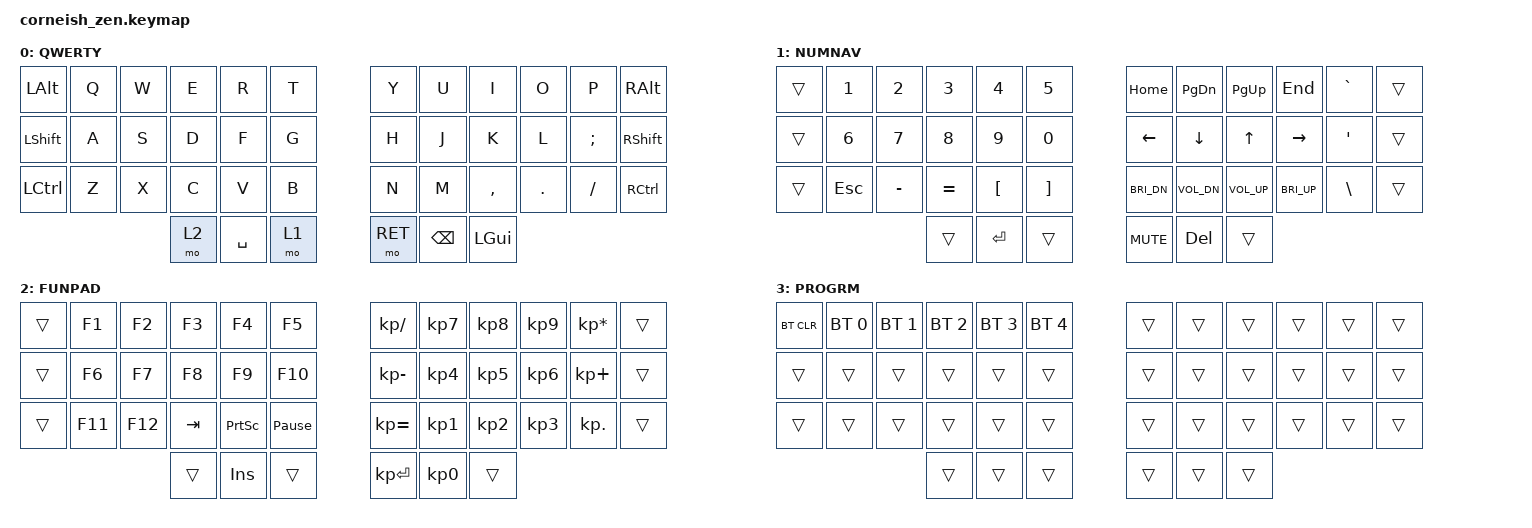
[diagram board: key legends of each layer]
#include <behaviors.dtsi>
#include <dt-bindings/zmk/keys.h>
#include <dt-bindings/zmk/bt.h>

/ {
  chosen {
    zmk,matrix_transform = &default_transform;
    //zmk,matrix_transform = &five_column_transform;
  };
};

/ {
  conditional_layers {
    compatible = "zmk,conditional-layers";
    tri_layer {
      if-layers = <1 2>;
      then-layer = <3>;
    };
  };
};

/ {
  keymap {
    compatible = "zmk,keymap";
    default_layer {
      label = "QWERTY";
// -------------------------------------------------------------------------------
// |  ALT |  Q  |  W  |  E  |  R  |  T  |   |  Y  |  U  |  I  |  O  |  P  | ALT  |
// | SHFT |  A  |  S  |  D  |  F  |  G  |   |  H  |  J  |  K  |  L  |  ;  | SHFT |
// | CTRL |  Z  |  X  |  C  |  V  |  B  |   |  N  |  M  |  ,  |  .  |  /  | CTRL |
//                    | FUN | SPC | NUM |   | RET | BSP | GUI |
      bindings = <
&kp LALT  &kp Q &kp W &kp E &kp R     &kp T   &kp Y   &kp U    &kp I     &kp O   &kp P    &kp RALT
&kp LSHFT &kp A &kp S &kp D &kp F     &kp G   &kp H   &kp J    &kp K     &kp L   &kp SEMI &kp RSHFT
&kp LCTRL &kp Z &kp X &kp C &kp V     &kp B   &kp N   &kp M    &kp COMMA &kp DOT &kp FSLH &kp RCTRL
                      &mo 2 &kp SPACE &mo 1   &mo RET &kp BSPC &kp LGUI
      >;
    };

    numsym_layer {
      label = "NUMNAV";
// -------------------------------------------------------------------------------
// |      |  1  |  2  |  3  |  4  |  5  |   | HOM | PDN | PUP | END |  `  |      |
// |      |  6  |  7  |  8  |  9  |  0  |   | LFT | DWN |  UP | RGT |  '  |      |
// |      | ESC |  -  |  =  |  [  |  ]  |   | BR- | VO- | VO+ | BR+ |  \  |      |
//                    |     | RET |     |   | MUT | DEL |     |
      bindings = <
&trans &kp N1  &kp N2    &kp N3    &kp N4   &kp N5     &kp HOME     &kp PG_DN    &kp PG_UP    &kp END      &kp GRAVE &trans
&trans &kp N6  &kp N7    &kp N8    &kp N9   &kp N0     &kp LEFT     &kp DOWN     &kp UP       &kp RIGHT    &kp SQT   &trans
&trans &kp ESC &kp MINUS &kp EQUAL &kp LBKT &kp RBKT   &kp C_BRI_DN &kp C_VOL_DN &kp C_VOL_UP &kp C_BRI_UP &kp BSLH  &trans
                         &trans    &kp RET  &trans     &kp C_MUTE   &kp DEL      &trans
      >;
    };

    functs_layer {
      label = "FUNPAD";
// -------------------------------------------------------------------------------
// |      | F1  | F2  | F3  | F4  | F5  |   | KP/ | KP7 | KP8 | KP9 | KP* |      |
// |      | F6  | F7  | F8  | F9  | F10 |   | KP- | KP4 | KP5 | KP6 | KP+ |      |
// |      | F11 | F12 | TAB | PS  | PAU |   | KP= | KP1 | KP2 | KP3 | KP. |      |
//                    |     | INS |     |   | ENT | KP0 |     |
      bindings = <
&trans &kp F1  &kp F2  &kp F3  &kp F4    &kp F5            &kp KP_DIVIDE &kp KP_N7 &kp KP_N8 &kp KP_N9 &kp KP_MULTIPLY &trans
&trans &kp F6  &kp F7  &kp F8  &kp F9    &kp F10           &kp KP_MINUS  &kp KP_N4 &kp KP_N5 &kp KP_N6 &kp KP_PLUS     &trans
&trans &kp F11 &kp F12 &kp TAB &kp PSCRN &kp PAUSE_BREAK   &kp KP_EQUAL  &kp KP_N1 &kp KP_N2 &kp KP_N3 &kp KP_DOT      &trans
                    	 &trans  &kp INS   &trans            &kp KP_ENTER  &kp KP_N0 &trans
      >;
    };

    progrm_layer {
      label = "PROGRM";
// -----------------------------------------------------------------------------------------
// | BTCLR| BT1 | BT2 | BT3 | BT4 | BT5 |   |     |     |     |     |     |      |
// |      |     |     |     |     |     |   |     |     |     |     |     |      |
// |      |     |     |     |     |     |   |     |     |     |     |     |      |
//                    |     |     |     |   |     |     |     |
      bindings = <
&bt BT_CLR &bt BT_SEL 0 &bt BT_SEL 1 &bt BT_SEL 2 &bt BT_SEL 3 &bt BT_SEL 4   &trans &trans &trans &trans &trans &trans
&trans     &trans       &trans       &trans       &trans       &trans         &trans &trans &trans &trans &trans &trans
&trans     &trans       &trans       &trans       &trans       &trans         &trans &trans &trans &trans &trans &trans
                                     &trans       &trans       &trans         &trans &trans &trans
      >;
    };
  };
};
